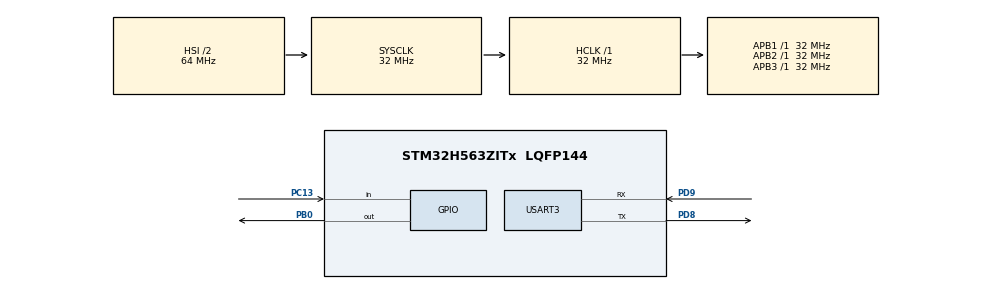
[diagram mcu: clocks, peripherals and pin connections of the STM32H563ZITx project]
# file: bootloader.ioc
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BOOTPATH.BootPathName=LEGACY
BOOTPATH.UserSelectedBootPath=LEGACY
CORTEX_M33_NS.userName=CORTEX_M33
Mcu.Family=STM32H5
Mcu.Name=STM32H563ZITx
Mcu.Package=LQFP144
NVIC.PriorityGroup=NVIC_PRIORITYGROUP_4
PB0.Signal=GPIO_Output
PC13.Signal=GPIO_Input
PD8.Mode=Asynchronous
PD8.Signal=USART3_TX
PD9.Mode=Asynchronous
PD9.Signal=USART3_RX
ProjectManager.HeapSize=0x200
ProjectManager.StackSize=0x400
ProjectManager.TargetToolchain=STM32CubeIDE
RCC.ADCFreq_Value=32000000
RCC.AHBFreq_Value=32000000
RCC.APB1Freq_Value=32000000
RCC.APB1TimFreq_Value=32000000
RCC.APB2Freq_Value=32000000
RCC.APB2TimFreq_Value=32000000
RCC.APB3Freq_Value=32000000
RCC.CSI_VALUE=4000000
RCC.CortexFreq_Value=32000000
RCC.EPOD_VALUE=4000000
RCC.HCLKFreq_Value=32000000
RCC.HSE_VALUE=25000000
RCC.HSI48_VALUE=48000000
RCC.HSI_VALUE=64000000
RCC.LSE_VALUE=32768
RCC.LSIRC_VALUE=32000
RCC.SYSCLKFreq_VALUE=32000000
RCC.USBFreq_Value=48000000
RCC.VCOOutputFreq_Value=516000000
USART3.VirtualMode-Asynchronous=VM_ASYNC
VP_BOOTPATH_VS_BOOTPATH.Mode=BP_Activate
VP_CORTEX_M33_NS_VS_Hclk.Mode=Hclk_Mode
VP_ICACHE_VS_ICACHE.Mode=DirectMappedCache
VP_MEMORYMAP_VS_MEMORYMAP.Mode=CurAppReg
VP_PWR_VS_LPOM.Mode=PowerOptimisation
VP_PWR_VS_SECSignals.Mode=Security/Privilege
board=custom

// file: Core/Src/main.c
/* USER CODE BEGIN Header */
/**
  ******************************************************************************
  * @file           : main.c
  * @brief          : Main program body
  ******************************************************************************
  * @attention
  *
  * Copyright (c) 2026 STMicroelectronics.
  * All rights reserved.
  *
  * This software is licensed under terms that can be found in the LICENSE file
  * in the root directory of this software component.
  * If no LICENSE file comes with this software, it is provided AS-IS.
  *
  ******************************************************************************
  */
/* USER CODE END Header */
#include "main.h"

/* USER CODE BEGIN Includes */
/* USER CODE BEGIN 0 */
#include <stdio.h> // Make sure to include this!
void JumpToApp(uint32_t address);

/* USER CODE END 0 */
/* USER CODE END Includes */

UART_HandleTypeDef huart3;

void SystemClock_Config(void);
static void MX_GPIO_Init(void);
static void MX_ICACHE_Init(void);
static void MX_USART3_UART_Init(void);

/* USER CODE BEGIN 0 */
#include <stdio.h>

/* Function pointer definition for the jump */
typedef void (*pFunction)(void);
// Add this function near your JumpToApp function or before main()
int _write(int file, char *ptr, int len)
{
    // Sends the data to the UART (USB)
    HAL_UART_Transmit(&huart3, (uint8_t *)ptr, len, HAL_MAX_DELAY);
    return len;
}
void JumpToApp(uint32_t address)
{
    uint32_t JumpAddress;
    pFunction Jump_To_Application;

    // 1. Check if the address at the top of the stack is valid (optional but recommended)
    // The first word of the app is the MSP (Main Stack Pointer) value.
    // It should point to RAM. (0x20000000 range)
    if (((*(__IO uint32_t*)address) & 0x2FE00000) == 0x20000000)
    {
        // 2. Prepare to Jump: Disable interrupts and peripherals
        HAL_RCC_DeInit();
        HAL_DeInit();
        SysTick->CTRL = 0;
        SysTick->LOAD = 0;
        SysTick->VAL = 0;

        // Disable all interrupts
        __disable_irq();

        // 3. Get the Jump Address (The 2nd word at the app location is the Reset Handler)
        JumpAddress = *(__IO uint32_t*) (address + 4);
        Jump_To_Application = (pFunction) JumpAddress;

        // 4. Set the Main Stack Pointer (MSP)
        __set_MSP(*(__IO uint32_t*) address);

        // 5. Jump!
        Jump_To_Application();
    }
}
/* USER CODE END 0 */

int main(void)
{

  /* MCU Configuration--------------------------------------------------------*/

  /* Reset of all peripherals, Initializes the Flash interface and the Systick. */
  HAL_Init();

  /* Configure the system clock */
  SystemClock_Config();

  /* Initialize all configured peripherals */
  MX_GPIO_Init();
  MX_ICACHE_Init();
  MX_USART3_UART_Init();

  /* Infinite loop */
  /* USER CODE BEGIN WHILE */
//  while (1)
//  {
    /* USER CODE END WHILE */

    /* USER CODE BEGIN 3 */
//  }
  /* USER CODE BEGIN 2 */
    printf("Bootloader Started.\r\n");

    // Check if User Button (PC13) is pressed (assuming Active HIGH for Nucleo H5, check schematic!)
    // Note: On many Nucleos, Button is HIGH when pressed.
    if (HAL_GPIO_ReadPin(GPIOC, GPIO_PIN_13) == GPIO_PIN_SET)
    {
        printf("Button Pressed! Jumping to Application 2...\r\n");
        // Add this before Jump_To_Application();
        HAL_ICACHE_Disable();
        HAL_ICACHE_Invalidate();
        // The App will re-enable it in its own SystemClock_Config usually
        JumpToApp(0x08020000); // Address of App 2
    }
    else
    {
        printf("No Button. Jumping to Application 1...\r\n");
        // Add this before Jump_To_Application();
        HAL_ICACHE_Disable();
        HAL_ICACHE_Invalidate();
        // The App will re-enable it in its own SystemClock_Config usually
        JumpToApp(0x08100000); // Address of App 1
    }
    /* USER CODE END 2 */
  /* USER CODE END 3 */
}

void SystemClock_Config(void)
{
  RCC_OscInitTypeDef RCC_OscInitStruct = {0};
  RCC_ClkInitTypeDef RCC_ClkInitStruct = {0};

  /** Configure the main internal regulator output voltage
  */
  __HAL_PWR_VOLTAGESCALING_CONFIG(PWR_REGULATOR_VOLTAGE_SCALE3);

  while(!__HAL_PWR_GET_FLAG(PWR_FLAG_VOSRDY)) {}

  /** Initializes the RCC Oscillators according to the specified parameters
  * in the RCC_OscInitTypeDef structure.
  */
  RCC_OscInitStruct.OscillatorType = RCC_OSCILLATORTYPE_HSI;
  RCC_OscInitStruct.HSIState = RCC_HSI_ON;
  RCC_OscInitStruct.HSIDiv = RCC_HSI_DIV2;
  RCC_OscInitStruct.HSICalibrationValue = RCC_HSICALIBRATION_DEFAULT;
  RCC_OscInitStruct.PLL.PLLState = RCC_PLL_NONE;
  if (HAL_RCC_OscConfig(&RCC_OscInitStruct) != HAL_OK)
  {
    Error_Handler();
  }

  /** Initializes the CPU, AHB and APB buses clocks
  */
  RCC_ClkInitStruct.ClockType = RCC_CLOCKTYPE_HCLK|RCC_CLOCKTYPE_SYSCLK
                              |RCC_CLOCKTYPE_PCLK1|RCC_CLOCKTYPE_PCLK2
                              |RCC_CLOCKTYPE_PCLK3;
  RCC_ClkInitStruct.SYSCLKSource = RCC_SYSCLKSOURCE_HSI;
  RCC_ClkInitStruct.AHBCLKDivider = RCC_SYSCLK_DIV1;
  RCC_ClkInitStruct.APB1CLKDivider = RCC_HCLK_DIV1;
  RCC_ClkInitStruct.APB2CLKDivider = RCC_HCLK_DIV1;
  RCC_ClkInitStruct.APB3CLKDivider = RCC_HCLK_DIV1;

  if (HAL_RCC_ClockConfig(&RCC_ClkInitStruct, FLASH_LATENCY_1) != HAL_OK)
  {
    Error_Handler();
  }

  /** Configure the programming delay
  */
  __HAL_FLASH_SET_PROGRAM_DELAY(FLASH_PROGRAMMING_DELAY_0);
}

static void MX_ICACHE_Init(void)
{

  /** Enable instruction cache in 1-way (direct mapped cache)
  */
  if (HAL_ICACHE_ConfigAssociativityMode(ICACHE_1WAY) != HAL_OK)
  {
    Error_Handler();
  }
  if (HAL_ICACHE_Enable() != HAL_OK)
  {
    Error_Handler();
  }

}

static void MX_USART3_UART_Init(void)
{

  huart3.Instance = USART3;
  huart3.Init.BaudRate = 115200;
  huart3.Init.WordLength = UART_WORDLENGTH_8B;
  huart3.Init.StopBits = UART_STOPBITS_1;
  huart3.Init.Parity = UART_PARITY_NONE;
  huart3.Init.Mode = UART_MODE_TX_RX;
  huart3.Init.HwFlowCtl = UART_HWCONTROL_NONE;
  huart3.Init.OverSampling = UART_OVERSAMPLING_16;
  huart3.Init.OneBitSampling = UART_ONE_BIT_SAMPLE_DISABLE;
  huart3.Init.ClockPrescaler = UART_PRESCALER_DIV1;
  huart3.AdvancedInit.AdvFeatureInit = UART_ADVFEATURE_NO_INIT;
  if (HAL_UART_Init(&huart3) != HAL_OK)
  {
    Error_Handler();
  }
  if (HAL_UARTEx_SetTxFifoThreshold(&huart3, UART_TXFIFO_THRESHOLD_1_8) != HAL_OK)
  {
    Error_Handler();
  }
  if (HAL_UARTEx_SetRxFifoThreshold(&huart3, UART_RXFIFO_THRESHOLD_1_8) != HAL_OK)
  {
    Error_Handler();
  }
  if (HAL_UARTEx_DisableFifoMode(&huart3) != HAL_OK)
  {
    Error_Handler();
  }

}

static void MX_GPIO_Init(void)
{
  GPIO_InitTypeDef GPIO_InitStruct = {0};

  /* GPIO Ports Clock Enable */
  __HAL_RCC_GPIOC_CLK_ENABLE();
  __HAL_RCC_GPIOB_CLK_ENABLE();
  __HAL_RCC_GPIOD_CLK_ENABLE();

  /*Configure GPIO pin Output Level */
  HAL_GPIO_WritePin(GPIOB, GPIO_PIN_0, GPIO_PIN_RESET);

  /*Configure GPIO pin : PC13 */
  GPIO_InitStruct.Pin = GPIO_PIN_13;
  GPIO_InitStruct.Mode = GPIO_MODE_INPUT;
  GPIO_InitStruct.Pull = GPIO_NOPULL;
  HAL_GPIO_Init(GPIOC, &GPIO_InitStruct);

  /*Configure GPIO pin : PB0 */
  GPIO_InitStruct.Pin = GPIO_PIN_0;
  GPIO_InitStruct.Mode = GPIO_MODE_OUTPUT_PP;
  GPIO_InitStruct.Pull = GPIO_NOPULL;
  GPIO_InitStruct.Speed = GPIO_SPEED_FREQ_LOW;
  HAL_GPIO_Init(GPIOB, &GPIO_InitStruct);

  /*Configure GPIO pins : PD8 PD9 */
  GPIO_InitStruct.Pin = GPIO_PIN_8|GPIO_PIN_9;
  GPIO_InitStruct.Mode = GPIO_MODE_AF_PP;
  GPIO_InitStruct.Pull = GPIO_NOPULL;
  GPIO_InitStruct.Speed = GPIO_SPEED_FREQ_LOW;
  GPIO_InitStruct.Alternate = GPIO_AF7_USART3;
  HAL_GPIO_Init(GPIOD, &GPIO_InitStruct);

}

void Error_Handler(void)
{
  __disable_irq();
  while (1)
  {
  }
}
